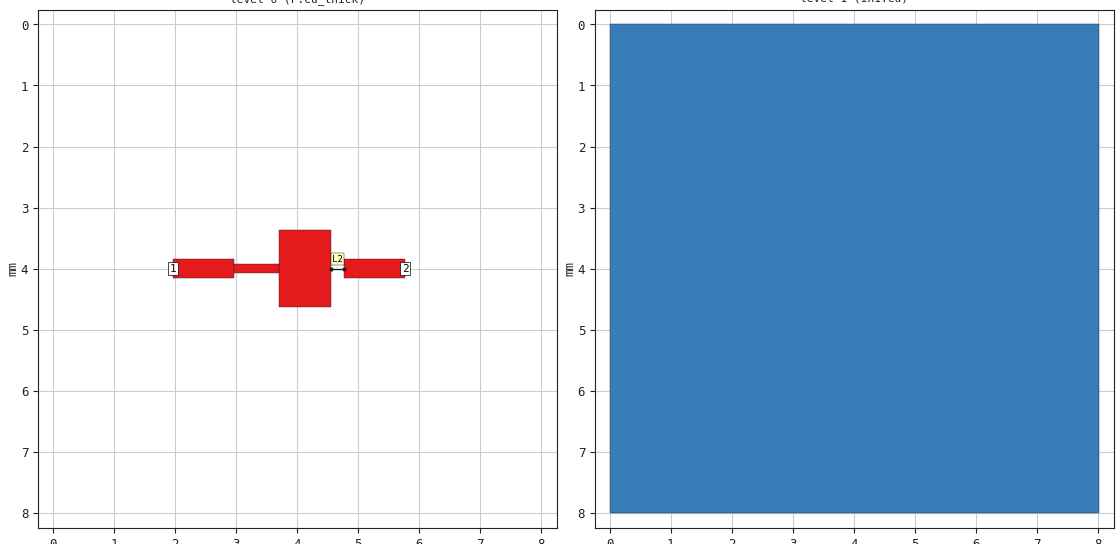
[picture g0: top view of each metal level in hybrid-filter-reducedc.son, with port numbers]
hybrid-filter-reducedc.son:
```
FTYP SONPROJ 19 ! Sonnet Project File
VER 18.54
HEADER
LIC antikernel2.1.51813
DAT 09/29/2022 12:47:53
BUILT_BY_CREATED xgeom 18.54 09/23/2022 20:17:08
BUILT_BY_SAVED sonnet 18.54
MDATE 09/29/2022 12:47:53
HDATE 09/29/2022 12:47:53
ANN Created by dxfgeo, Sonnet Software Inc.
END HEADER
DIM
ANG DEG
CAP FF
CON /OH
FREQ GHZ
IND PH
LNG MM
RES OH
END DIM
CONTROL
VARSWP
OPTIONS  -dj
SPEED 0
CACHE_ABS 2
Q_ACC N
END CONTROL
GEO
TMET "Free Space" 0 FREESPACE 376.7303136 0 0 0
BMET "Free Space" 0 FREESPACE 376.7303136 0 0 0
MET "Copper_1oz+plated_thick_up" 1 TMM 58000000 0.5 0.0432 2
MET "Copper_1oz+plated_thin" 4 NOR 58000000 0.5 0.0432 
MET "Copper_0.5oz_thin" 2 NOR 58000000 0.5 0.0175 
MET "Copper_1oz+plated_thick_down" 3 TMM 58000000 0.5 0.0432 2 CDVY TDWN
MET "Copper 35um" 1 VOL 58000000 0.035
BOX 4 8 8 640 640 20 0
      10 1 1 0 0 0 0 "Air"
      0.2021 3.61 1 0.0092 0 0 0 "Isola_FR408HR"
      1.1938 3.61 1 0.0092 0 0 0 "Isola_FR408HR"
      0.2021 3.61 1 0.0092 0 0 0 "Isola_FR408HR"
      10 1 1 0 0 0 0 "Air"
TECHLAY VIA Via1 L3D0 -7 -65534 CAD Via1 drawing 
VIA POLYGON
0 0 4 N 339 1 1 100 100 0 0 0 Y
TOLEVEL 3 RING NOCOVERS
END
END
TECHLAY METAL F.Cu_thick L1D0 -1 -65534 CAD F.Cu drawing 
0 0 0 N 283 1 1 100 100 0 0 0 Y
END
END
TECHLAY METAL F.Cu_thin <UNSPECIFIED> -2 -65534 CAD F.Cu_thin drawing 
0 0 1 N 287 1 1 100 100 0 0 0 Y
END
END
TECHLAY METAL In1.Cu L2D0 -3 -65534 CAD In1.Cu drawing 
1 0 2 N 290 1 1 100 100 0 0 0 Y
END
END
TECHLAY METAL In2.Cu <UNSPECIFIED> -4 -65534 CAD In2.Cu drawing 
2 0 2 N 293 1 1 100 100 0 0 0 Y
END
END
TECHLAY METAL B.Cu_thin <UNSPECIFIED> -6 -65534 CAD B.Cu_thin drawing 
3 0 1 N 296 1 1 100 100 0 0 0 Y
END
END
TECHLAY METAL B.Cu_thick <UNSPECIFIED> -5 -65534 CAD B.Cu drawing 
3 0 3 N 298 1 1 100 100 0 0 0 Y
END
END
DIM STD YDIR -1
POS -0.2307931482 -1.048950334
NOM 0.3
REF1 POLY 260 1
3
REF2 POLY 260 1
0
END
DIM STD XDIR 1
POS 1.597383878 -0.1628358242
NOM 1
REF1 POLY 260 1
0
REF2 POLY 260 1
1
END
DIM STD YDIR -1
POS 0.5086943266 -0.8240376151
NOM 1.25
REF1 POLY 267 1
3
REF2 POLY 267 1
0
END
DIM STD XDIR 1
POS 0.8425802959 -0.07903880881
NOM 0.85
REF1 POLY 267 1
0
REF2 POLY 267 1
1
END
DIM STD XDIR 1
POS 0.8956909543 -0.0801707071
NOM 0.725
REF1 POLY 308 1
0
REF2 POLY 308 1
1
END
DIM STD YDIR 1
POS -0.2057769376 0.03688434157
NOM 0.15
REF1 POLY 308 1
1
REF2 POLY 308 1
2
END
DIM STD YDIR -1
POS 0.3442068518 -1.023950334
NOM 0.3
REF1 POLY 313 1
3
REF2 POLY 313 1
0
END
DIM STD XDIR 1
POS 1.597383878 -0.1628358242
NOM 1
REF1 POLY 313 1
0
REF2 POLY 313 1
1
END
LORGN 0 8 U 
POR1 CUP Auto
GNDREF AUTO
TERMW FEED
POLY 260 1
3
1 50 0 0 0 1.975 4 
CUPGRP "Auto" LOCAL
ID 340
END
POR1 CUP Auto
GNDREF AUTO
TERMW FEED
POLY 313 1
1
2 50 0 0 0 5.775 4 
CUPGRP "Auto" LOCAL
ID 341
END
SMD 0 "L2"
ID 322
GNDREF AUTO
SBOX 4.60625 4.71875 3.94375 4.05625
PBSHW N
LPOS 4.6625 3.94375
TYPE SPARAM 1
SMDP 0 4.775 4 R 3 1 
EXSMDP
GNDREF AUTO
TERMW FEED
END EXSMDP
SMDP 0 4.55 4 L 4 2 
EXSMDP
GNDREF AUTO
TERMW CUST 0.3
END EXSMDP
END
NUM 5
0 5 0 N 260 1 1 100 100 0 0 0 Y
TLAYNAM F.Cu_thick INH
1.975 3.85
2.975 3.85
2.975 4.15
1.975 4.15
1.975 3.85
END
0 5 0 N 267 1 1 100 100 0 0 0 Y
TLAYNAM F.Cu_thick INH
3.7 3.375
4.55 3.375
4.55 4.625
3.7 4.625
3.7 3.375
END
0 5 0 N 308 1 1 100 100 0 0 0 Y
TLAYNAM F.Cu_thick INH
2.975 3.925
3.7 3.925
3.7 4.075
2.975 4.075
2.975 3.925
END
0 5 0 N 313 1 1 100 100 0 0 0 Y
TLAYNAM F.Cu_thick INH
4.775 3.85
5.775 3.85
5.775 4.15
4.775 4.15
4.775 3.85
END
1 5 2 N 83 1 1 100 100 0 0 0 Y
TLAYNAM In1.Cu INH
USER_DAT FromImport
8.0125 0
0.0125 0
0.0125 8
8.0125 8
8.0125 0
END
END GEO
OPT
MAX 100
END OPT
VARSWP
ENABLED Y
FREQ Y AY ABS_ENTRY 0.1 16.0 -1 300 
END
END VARSWP
SMDFILES
1 "../../../../../../ceph/bulk/datasheets/Murata/Inductor/LQP03TN2N2B02.s2p"
END SMDFILES
```
